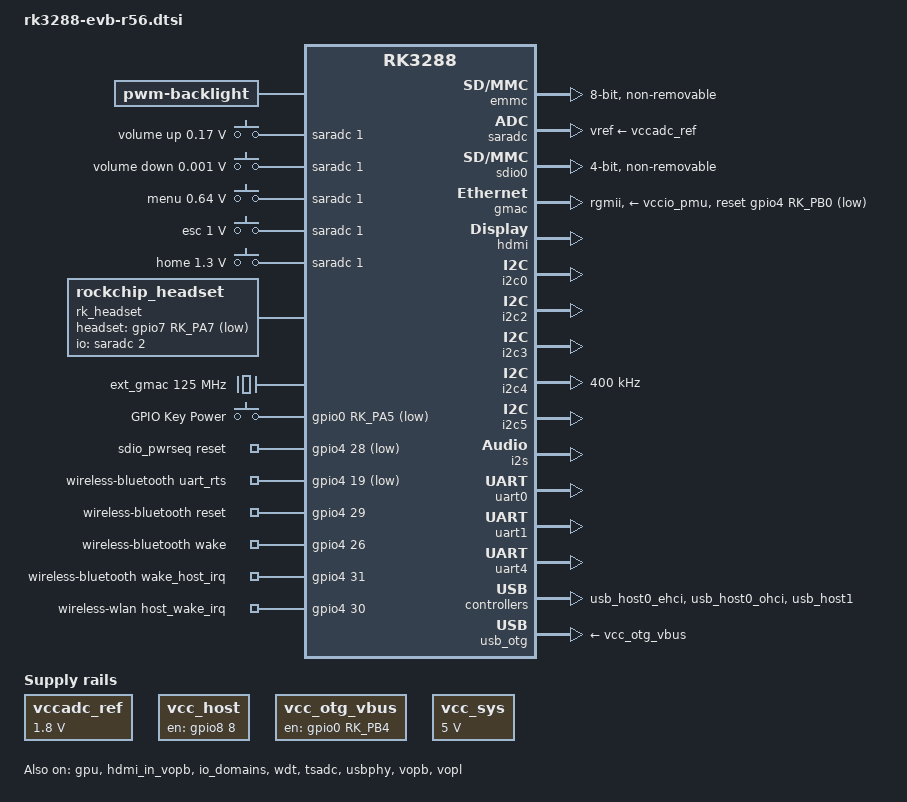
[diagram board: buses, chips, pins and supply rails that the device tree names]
// SPDX-License-Identifier: (GPL-2.0+ OR MIT)

#include <dt-bindings/input/input.h>
#include <dt-bindings/pwm/pwm.h>
#include "rk3288.dtsi"

/ {
	backlight: backlight {
		compatible = "pwm-backlight";
		brightness-levels = <
		    255 254 253 252	251	250	249	248
			247	246	245	244	243	242	241	240
			239	238	237	236	235	234	233	232
			231	230	229	228	227	226	225	224
			223	222	221	220	219	218	217	216
			215	214	213	212	211	210	209	208
			207	206	205	204	203	202	201	200
			199	198	197	196	195	194	193	192
			191	190	189	188	187	186	185	184
			183	182	181	180	179	178	177	176
			175	174	173	172	171	170	169	168
			167	166	165	164	163	162	161	160
			159	158	157	156	155	154	153	152
			151	150	149	148	147	146	145	144
			143	142	141	140	139	138	137	136
			135	134	133	132	131	130	129	128
			127	126	125	124	123	122	121	120
			119	118	117	116	115	114	113	112
			111	110	109	108	107	106	105	104
			103	102	101	100	99	98	97	96
			95	94	93	92	91	90	89	88
			87	86	85	84	83	82	81	80
			79	78	77	76	75	74	73	72
			71	70	69	68	67	66	65	64
			63	62	61	60	59	58	57	56
			55	54	53	52	51	50	49	48
			47	46	45	44	43	42	41	40
			39	38	37	36	35	34	33	32
			31	30	29	28	27	26	25	24
			23	22	21	20	19	18	17	16
			15	14	13	12	11	10	9	8
			7	6	5	4	3	2	1	0>;
		default-brightness-level = <255>;
	};

	adc-keys {
		compatible = "adc-keys";
		io-channels = <&saradc 1>;
		io-channel-names = "buttons";
		keyup-threshold-microvolt = <1800000>;
		poll-interval = <100>;

		vol-up-key {
			label = "volume up";
			linux,code = <KEY_VOLUMEUP>;
			press-threshold-microvolt = <170000>;
		};

		vol-down-key {
			label = "volume down";
			linux,code = <KEY_VOLUMEDOWN>;
			press-threshold-microvolt = <1000>;
		};

		menu {
			label = "menu";
			linux,code = <KEY_MENU>;
			press-threshold-microvolt = <640000>;
		};

		esc {
			label = "esc";
			linux,code = <KEY_ESC>;
			press-threshold-microvolt = <1000000>;
		};

		home  {
			label = "home";
			linux,code = <KEY_HOME>;
			press-threshold-microvolt = <1300000>;
		};
	};

	sound: sound {
		status = "okay";
		compatible = "simple-audio-card";
		simple-audio-card,format = "i2s";
		simple-audio-card,name = "rockchip,es8316-codec";
		simple-audio-card,mclk-fs = <512>;
		simple-audio-card,widgets =
			"Microphone", "Microphone Jack",
			"Headphone", "Headphone Jack";
		simple-audio-card,routing =
			"MIC1", "Microphone Jack",
			"MIC2", "Microphone Jack",
			"Microphone Jack", "micbias1",
			"Headphone Jack", "HPOL",
			"Headphone Jack", "HPOR";

		simple-audio-card,dai-link@0 {
			format = "i2s";
			cpu {
				sound-dai = <&i2s>;
				system-clock-frequency = <11289600>;
			};

			codec {
				sound-dai = <&es8316>;
				system-clock-frequency = <11289600>;
			};
		};

		simple-audio-card,dai-link@1 {
			format = "i2s";
			cpu {
				sound-dai = <&i2s>;
			};

			codec {
				sound-dai = <&hdmi>;
			};
		};
	};

	hdmi_analog_sound: hdmi-analog-sound {
		compatible = "rockchip,rk3288-hdmi-analog",
			     "rockchip,rk3368-hdmi-analog";
		rockchip,model = "rockchip,es8316-codec";
		rockchip,cpu = <&i2s>;
		rockchip,codec = <&es8316>, <&hdmi>;
		rockchip,widgets =
			"Microphone", "Microphone Jack",
			"Headphone", "Headphone Jack";
		rockchip,routing =
			"MIC1", "Microphone Jack",
			"MIC2", "Microphone Jack",
			"Microphone Jack", "micbias1",
			"Headphone Jack", "HPOL",
			"Headphone Jack", "HPOR";
		status = "disabled";
	};

	//add by pirlo for hp detect
	rk_headset: rk-headset {
		status = "okay";
		compatible = "rockchip_headset";
		headset_gpio = <&gpio7 RK_PA7 GPIO_ACTIVE_LOW>;
		pinctrl-names = "default";
		pinctrl-0 = <&hp_det>;
		io-channels = <&saradc 2>;
	};

	ext_gmac: external-gmac-clock {
		compatible = "fixed-clock";
		clock-frequency = <125000000>;
		clock-output-names = "ext_gmac";
		#clock-cells = <0>;
	};

	gpio-keys {
		compatible = "gpio-keys";
		autorepeat;

		pinctrl-names = "default";
		pinctrl-0 = <&pwrbtn>;

		power {
			gpios = <&gpio0 RK_PA5 GPIO_ACTIVE_LOW>;
			linux,code = <KEY_POWER>;
			label = "GPIO Key Power";
			linux,input-type = <1>;
			wakeup-source;
			debounce-interval = <100>;
		};
	};

	vccadc_ref: vccadc-ref {
		compatible = "regulator-fixed";
		regulator-name = "vcc1v8_sys";
		regulator-always-on;
		regulator-boot-on;
		regulator-min-microvolt = <1800000>;
		regulator-max-microvolt = <1800000>;
	};

	/* This turns on USB vbus for both host0 (ehci) and host1 (dwc2) */
	vcc_host: vcc-host-regulator {
		compatible = "regulator-fixed";
		enable-active-high;
		gpio = <&gpio8 8 GPIO_ACTIVE_HIGH>;
		pinctrl-names = "default";
		pinctrl-0 = <&host_vbus_drv>;
		regulator-name = "vcc_host";
		regulator-always-on;
		regulator-boot-on;
	};

	vcc_otg_vbus: otg-vbus-regulator {
		compatible = "regulator-fixed";
		enable-active-high;
		gpio = <&gpio0 RK_PB4 GPIO_ACTIVE_HIGH>;
		pinctrl-names = "default";
		pinctrl-0 = <&otg_vbus_drv>;
		regulator-name = "vcc_otg_vbus";
	};

	/*vcc_phy: vcc-phy-regulator {
		compatible = "regulator-fixed";
		enable-active-high;
		gpio = <&gpio0 RK_PB6 GPIO_ACTIVE_HIGH>;
		pinctrl-names = "default";
		pinctrl-0 = <&eth_phy_pwr>;
		regulator-name = "vcc_phy";
		regulator-min-microvolt = <3300000>;
		regulator-max-microvolt = <3300000>;
		regulator-always-on;
		regulator-boot-on;
	};*/

	vcc_sys: vsys-regulator {
		compatible = "regulator-fixed";
		regulator-name = "vcc_sys";
		regulator-min-microvolt = <5000000>;
		regulator-max-microvolt = <5000000>;
		regulator-always-on;
		regulator-boot-on;
	};

	/* This switch DIO3222 HOST_DP_HOST to host2 (dwc2) */
	/*vcc_3g: vcc-3g-regulator {
		compatible = "regulator-fixed";
		enable-active-high;
		gpio = <&gpio7 8 GPIO_ACTIVE_HIGH>;
		pinctrl-names = "default";
		pinctrl-0 = <&pwr_3g>;
		regulator-name = "vcc_3g";
	};*/

	/*
	 * NOTE: vcc_sd isn't hooked up on v1.0 boards where power comes from
	 * vcc_io directly.  Those boards won't be able to power cycle SD cards
	 * but it shouldn't hurt to toggle this pin there anyway.
	 */
	/*vcc_sd: sdmmc-regulator {
		compatible = "regulator-fixed";
		gpio = <&gpio7 RK_PB4 GPIO_ACTIVE_HIGH>;
		pinctrl-names = "default";
		pinctrl-0 = <&sdmmc_pwr>;
		regulator-name = "vcc_sd";
		regulator-min-microvolt = <3300000>;
		regulator-max-microvolt = <3300000>;
		startup-delay-us = <100000>;
		vin-supply = <&vcc_io>;
	};*/

	sdio_pwrseq: sdio-pwrseq {
		compatible = "mmc-pwrseq-simple";
		//clocks = <&hym8563>;
		//clock-names = "ext_clock";
		pinctrl-names = "default";
		pinctrl-0 = <&wifi_enable_h>;

		/*
		 * On the module itself this is one of these (depending
		 * on the actual card populated):
		 * - SDIO_RESET_L_WL_REG_ON
		 * - PDN (power down when low)
		 */
		reset-gpios = <&gpio4 28 GPIO_ACTIVE_LOW>;
	};

	wireless-bluetooth {
		compatible = "bluetooth-platdata";
		uart_rts_gpios = <&gpio4 19 GPIO_ACTIVE_LOW>;
		pinctrl-names = "default", "rts_gpio";
		pinctrl-0 = <&uart0_rts>;
		pinctrl-1 = <&uart0_gpios>;
		BT,reset_gpio    = <&gpio4 29 GPIO_ACTIVE_HIGH>;
		BT,wake_gpio     = <&gpio4 26 GPIO_ACTIVE_HIGH>;
		BT,wake_host_irq = <&gpio4 31 GPIO_ACTIVE_HIGH>;
		status = "okay";
	};

	wireless-wlan {
		compatible = "wlan-platdata";
		rockchip,grf = <&grf>;
		wifi_chip_type = "ap6335";
		sdio_vref = <1800>;
		WIFI,host_wake_irq = <&gpio4 30 GPIO_ACTIVE_HIGH>;
		status = "okay";
	};
};

&cpu0 {
	cpu0-supply = <&vdd_cpu>;
};

&emmc {
	bus-width = <8>;
	cap-mmc-highspeed;
	disable-wp;
	non-removable;
	pinctrl-names = "default";
	pinctrl-0 = <&emmc_clk &emmc_cmd &emmc_pwr &emmc_bus8>;
	status = "okay";
};

&saradc {
	vref-supply = <&vccadc_ref>;
	status = "okay";
};

#if 0
&sdmmc {
	bus-width = <4>;
	cap-mmc-highspeed;
	sd-uhs-sdr12;
	sd-uhs-sdr25;
	sd-uhs-sdr50;
	sd-uhs-sdr104;
	cap-sd-highspeed;
	card-detect-delay = <200>;
	disable-wp;			/* wp not hooked up */
	num-slots = <1>;
	pinctrl-names = "default";
	pinctrl-0 = <&sdmmc_clk &sdmmc_cmd &sdmmc_cd &sdmmc_bus4>;
	status = "disabled";
	vmmc-supply = <&vcc_sd>;
	vqmmc-supply = <&vccio_sd>;
	supports-sd;
};
#endif

&sdio0 {
	status = "okay";
	max-frequency = <150000000>;
	bus-width = <4>;
	cap-sd-highspeed;
	cap-sdio-irq;
	keep-power-in-suspend;
	mmc-pwrseq = <&sdio_pwrseq>;
	non-removable;
	num-slots = <1>;
	pinctrl-names = "default";
	pinctrl-0 = <&sdio0_bus4 &sdio0_cmd &sdio0_clk &sdio0_int>;
	sd-uhs-sdr104;
	supports-sdio;
};

&gmac {
	phy-supply = <&vccio_pmu>;
	phy-mode = "rgmii";
	clock_in_out = "input";
	snps,reset-gpio = <&gpio4 RK_PB0 GPIO_ACTIVE_HIGH>;
	snps,reset-active-low;
	snps,reset-delays-us = <0 10000 50000>;
	assigned-clocks = <&cru SCLK_MAC>;
	assigned-clock-parents = <&ext_gmac>;
	pinctrl-names = "default";
	pinctrl-0 = <&rgmii_pins>;
	tx_delay = <0x30>;
	rx_delay = <0x10>;
	status = "okay";
};

&gpu {
	mali-supply = <&vdd_gpu>;
	status = "okay";
};

&hdmi {
	status = "okay";
};

&hdmi_in_vopl {
	status = "disabled";
};

&hdmi_in_vopb {
	status = "okay";
};

&i2c0 {
	status = "okay";
};

&i2c2 {
	status = "okay";

	rt5640: rt5640@1c {
		#sound-dai-cells = <0>;
		compatible = "realtek,rt5640";
		reg = <0x1c>;
		clocks = <&cru SCLK_I2S0_OUT>;
		clock-names = "mclk";
		interrupt-parent = <&gpio6>;
		interrupts = <7 IRQ_TYPE_EDGE_FALLING>;
		pinctrl-names = "default";
		pinctrl-0 = <&i2s0_mclk>;
		status = "disabled";
	};
};

&i2c3 {
	status = "okay";
};

&i2c4 {
	status = "okay";
	clock-frequency = <400000>;

	gsl3673@40 {
		compatible = "GSL,GSL3673";
		reg = <0x40>;
		screen_max_x = <1536>;
		screen_max_y = <2048>;
		irq_gpio_number = <&gpio7 6 IRQ_TYPE_LEVEL_LOW>;
		rst_gpio_number = <&gpio7 5 GPIO_ACTIVE_HIGH>;
		status = "disabled";
	};
};

&i2c5 {
	status = "okay";
};

&i2s {
	#sound-dai-cells = <0>;
	status = "okay";
};

&io_domains {
	status = "okay";

	sdcard-supply = <&vccio_sd>;
	wifi-supply = <&vcc_18>;
};

&wdt {
	status = "okay";
};

&uart0 {
	pinctrl-names = "default";
	pinctrl-0 = <&uart0_xfer &uart0_cts>;
	status = "okay";
};

&uart1 {
	status = "okay";
};

&uart2 {
	status = "disabled";
};

&uart3 {
	status = "disabled";
};

&uart4 {
	status = "okay";
};

&tsadc {
	rockchip,hw-tshut-mode = <0>; /* tshut mode 0:CRU 1:GPIO */
	rockchip,hw-tshut-polarity = <0>; /* tshut polarity 0:LOW 1:HIGH */
	status = "okay";
};

&usbphy {
	status = "okay";
};

&usb_host0_ehci {
	rockchip-relinquish-port;
	status = "okay";
};

&usb_host0_ohci {
	status = "okay";
};

&usb_host1 {
	status = "okay";
};

&usb_otg {
	vbus-supply = <&vcc_otg_vbus>;
	status = "okay";
};

&vopb {
	status = "okay";
};

&vopb_mmu {
	status = "okay";
};

&vopl {
	status = "okay";
};

&vopl_mmu {
	status = "okay";
};

&pinctrl {
	pcfg_pull_none_drv_8ma: pcfg-pull-none-drv-8ma {
		drive-strength = <8>;
	};

	pcfg_pull_up_drv_8ma: pcfg-pull-up-drv-8ma {
		bias-pull-up;
		drive-strength = <8>;
	};

	buttons {
		pwrbtn: pwrbtn {
			rockchip,pins = <0 RK_PA5 RK_FUNC_GPIO &pcfg_pull_up>;
		};
	};

	headphone {
		hp_det: hp-det {
			rockchip,pins = <7 RK_PA7 RK_FUNC_GPIO &pcfg_pull_up>;
		};
	};

	pmic {
		pmic_int: pmic-int {
			rockchip,pins = <0 RK_PA4 RK_FUNC_GPIO &pcfg_pull_up>;
		};
	};

	sdio-pwrseq {
		wifi_enable_h: wifi-enable-h {
			rockchip,pins = <4 RK_PD4 RK_FUNC_GPIO &pcfg_pull_none>;
		};
	};

	sdmmc {
		/*
		 * Default drive strength isn't enough to achieve even
		 * high-speed mode on EVB board so bump up to 8ma.
		 */
		sdmmc_bus4: sdmmc-bus4 {
			rockchip,pins = <6 RK_PC0 1 &pcfg_pull_up_drv_8ma>,
					<6 RK_PC1 1 &pcfg_pull_up_drv_8ma>,
					<6 RK_PC2 1 &pcfg_pull_up_drv_8ma>,
					<6 RK_PC3 1 &pcfg_pull_up_drv_8ma>;
		};

		sdmmc_clk: sdmmc-clk {
			rockchip,pins = <6 RK_PC4 1 &pcfg_pull_none_drv_8ma>;
		};

		sdmmc_cmd: sdmmc-cmd {
			rockchip,pins = <6 RK_PC5 1 &pcfg_pull_up_drv_8ma>;
		};

		/*sdmmc_pwr: sdmmc-pwr {
			rockchip,pins = <7 RK_PB4 RK_FUNC_GPIO &pcfg_pull_none>;
		};*/
	};

	usb {
		host_vbus_drv: host-vbus-drv {
			rockchip,pins = <8 8 RK_FUNC_GPIO &pcfg_pull_none>;
		};

		otg_vbus_drv: otg-bus-drv {
			rockchip,pins = <0 RK_PB4 RK_FUNC_GPIO &pcfg_pull_none>;
		};

		/*pwr_3g: pwr-3g {
			rockchip,pins = <7 8 RK_FUNC_GPIO &pcfg_pull_none>;
		};*/
	};
/*
	eth_phy {
		eth_phy_pwr: eth-phy-pwr {
			rockchip,pins = <0 14 RK_FUNC_GPIO &pcfg_pull_none>;
		};
	};
*/

	wireless-bluetooth {
		uart0_gpios: uart0-gpios {
			rockchip,pins = <4 RK_PC3 RK_FUNC_GPIO &pcfg_pull_none>;
		};
	};
};
